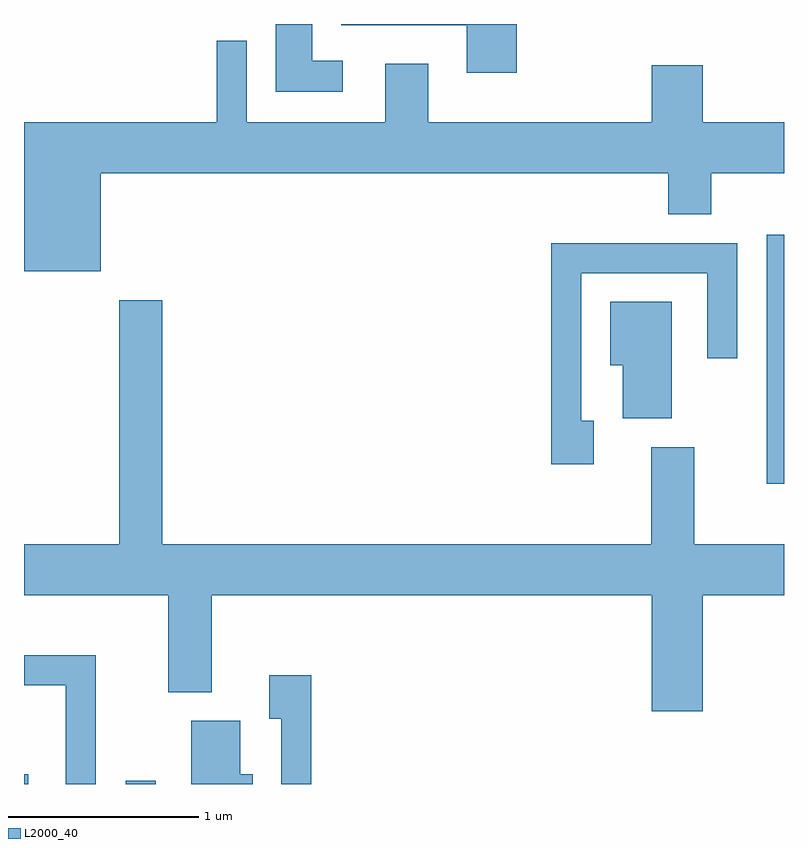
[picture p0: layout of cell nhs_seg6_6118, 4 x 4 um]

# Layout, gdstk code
import gdstk
lib = gdstk.Library(unit=1e-6, precision=1e-09)
def R(c, l, rs):  # rectangles x0, y0, x1, y1
    for r in rs: c.add(gdstk.rectangle(r[:2], r[2:], *l))
def P(c, l, *ps):  # polygons
    for p in ps: c.add(gdstk.Polygon(p, *l))
L2000_40 = (2000, 40)

nhs_seg6_6118 = lib.new_cell('nhs_seg6_6118')
R(nhs_seg6_6118, L2000_40, [(371.611,1540.162,371.634,1540.214), (372.146,1540.162,372.304,1540.178), (375.521,1541.741,375.611,1543.054)])
P(nhs_seg6_6118, L2000_40, [(374.204,1544.162),(373.281,1544.162),(373.281,1544.156),(373.941,1544.156),(373.941,1543.906),(374.204,1543.906)],
  [(373.288,1543.969),(373.129,1543.969),(373.129,1544.162),(372.936,1544.162),(372.936,1543.806),(373.288,1543.806)],
  [(372.014,1543.376),(375.001,1543.376),(375.001,1543.161),(375.229,1543.161),(375.229,1543.376),(375.611,1543.376),(375.611,1543.644),(375.184,1543.644),(375.184,1543.944),(374.916,1543.944),(374.916,1543.644),(373.739,1543.644),(373.739,1543.954),(373.511,1543.954),(373.511,1543.644),(372.784,1543.644),(372.784,1544.073),(372.626,1544.073),(372.626,1543.644),(371.611,1543.644),(371.611,1542.861),(372.014,1542.861)],
  [(374.609,1542.074),(374.544,1542.074),(374.544,1542.851),(375.206,1542.851),(375.206,1542.403),(375.364,1542.403),(375.364,1543.009),(374.386,1543.009),(374.386,1541.846),(374.609,1541.846)],
  [(375.184,1541.156),(375.611,1541.156),(375.611,1541.424),(375.139,1541.424),(375.139,1541.934),(374.911,1541.934),(374.911,1541.424),(372.339,1541.424),(372.339,1542.709),(372.111,1542.709),(372.111,1541.424),(371.611,1541.424),(371.611,1541.156),(372.371,1541.156),(372.371,1540.646),(372.599,1540.646),(372.599,1541.156),(374.916,1541.156),(374.916,1540.546),(375.184,1540.546)],
  [(375.019,1542.699),(374.696,1542.699),(374.696,1542.366),(374.761,1542.366),(374.761,1542.086),(375.019,1542.086)],
  [(371.989,1540.839),(371.611,1540.839),(371.611,1540.681),(371.831,1540.681),(371.831,1540.162),(371.989,1540.162)],
  [(373.124,1540.734),(372.901,1540.734),(372.901,1540.506),(372.966,1540.506),(372.966,1540.162),(373.124,1540.162)],
  [(372.814,1540.214),(372.749,1540.214),(372.749,1540.494),(372.491,1540.494),(372.491,1540.162),(372.814,1540.162)])

lib.write_gds('nhs_seg6_6118.gds')
